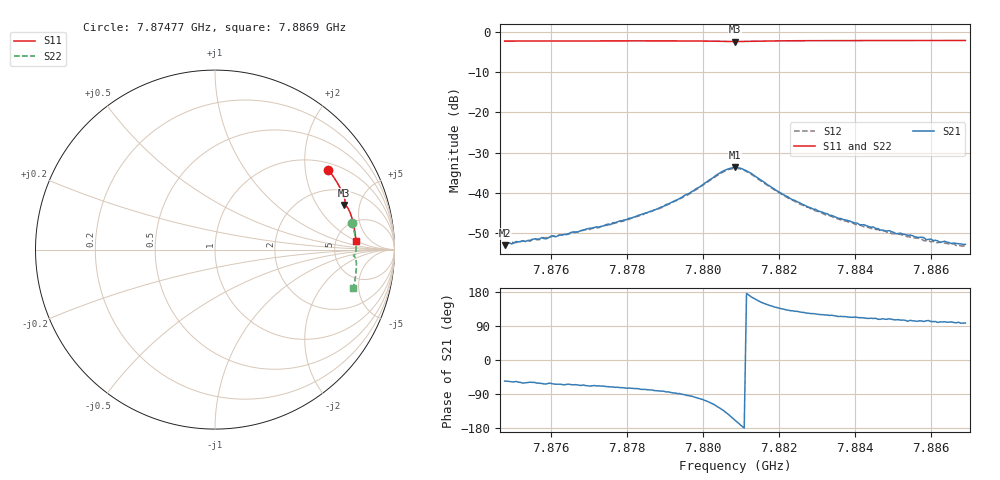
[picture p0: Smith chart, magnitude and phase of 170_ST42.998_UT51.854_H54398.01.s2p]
#  HZ  S  DB  R  50.00
! Rohde & Schwarz Vector Network Analyzer
! Rohde-Schwarz,ZNB20-2Port,1311601062101988,3.16
! Created: UTC 1/12/2023, 6:41:58 PM
! freq[Hz]  db:S11  ang:S11  db:S21  ang:S21  db:S12  ang:S12  db:S22  ang:S22
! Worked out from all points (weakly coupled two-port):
!   201 points, 7.87477 GHz to 7.8869 GHz, reference 50 ohm
!   highest |S21| = -33.68 dB at 7.88084 GHz (marker M1); lowest = -53.0 dB at 7.87477 GHz (marker M2)
!   lowest |S11| = -2.4 dB at 7.88084 GHz (marker M3), VSWR 7.41, Z = 150 + j178 ohm
!   |S11| at or under -10 dB: nowhere
!   |S22| runs from -2.3 to -1.9 dB; largest |S21 - S12| = 0.0014
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7.874772e9  -2.24 35.1  -53.01 -55.6  -53.00 -60.0  -2.18 11.1
7.874954e9  -2.23 34.6  -52.71 -57.5  -52.26 -60.3  -2.18 10.7
7.875439e9  -2.23 33.2  -51.84 -58.5  -52.05 -63.4  -2.16 9.5
7.87556e9  -2.22 33.0  -51.45 -59.1  -51.31 -64.5  -2.16 9.2
7.875621e9  -2.23 32.8  -51.49 -61.1  -51.71 -63.4  -2.15 9.1
7.875863e9  -2.22 32.1  -51.45 -63.5  -51.22 -65.2  -2.15 8.5
7.876834e9  -2.20 29.5  -49.32 -66.0  -49.34 -70.4  -2.12 6.3
7.877562e9  -2.19 27.5  -47.93 -71.2  -47.77 -74.5  -2.10 4.6
7.878835e9  -2.19 23.9  -43.80 -81.7  -43.95 -85.0  -2.08 1.5
7.879563e9  -2.20 21.9  -40.40 -93.3  -40.72 -96.4  -2.09 -0.3
7.880534e9  -2.32 19.3  -34.54 -133.3  -34.76 -136.8  -2.22 -2.4
7.880837e9  -2.36 19.1  -33.68 -158.9  -33.88 -161.8  -2.25 -2.5
7.881201e9  -2.30 18.7  -34.85 171.4  -34.99 167.8  -2.20 -2.7
7.882111e9  -2.17 16.3  -40.46 134.4  -40.68 130.8  -2.06 -4.6
7.882899e9  -2.14 14.1  -44.06 122.4  -44.20 118.4  -2.02 -6.5
7.884112e9  -2.11 10.8  -47.91 111.6  -47.98 106.8  -1.99 -9.3
7.884901e9  -2.11 8.8  -49.40 108.8  -49.74 105.0  -1.97 -11.0
7.885083e9  -2.10 8.3  -50.19 106.0  -50.34 103.8  -1.97 -11.4
7.885811e9  -2.09 6.4  -51.17 101.7  -51.91 98.5  -1.96 -13.0
7.886235e9  -2.09 5.2  -52.39 100.6  -52.17 97.6  -1.95 -14.0
7.886356e9  -2.09 4.9  -52.05 101.1  -52.49 96.5  -1.95 -14.2
7.886902e9  -2.08 3.5  -52.82 97.6  -53.09 96.2  -1.95 -15.4
